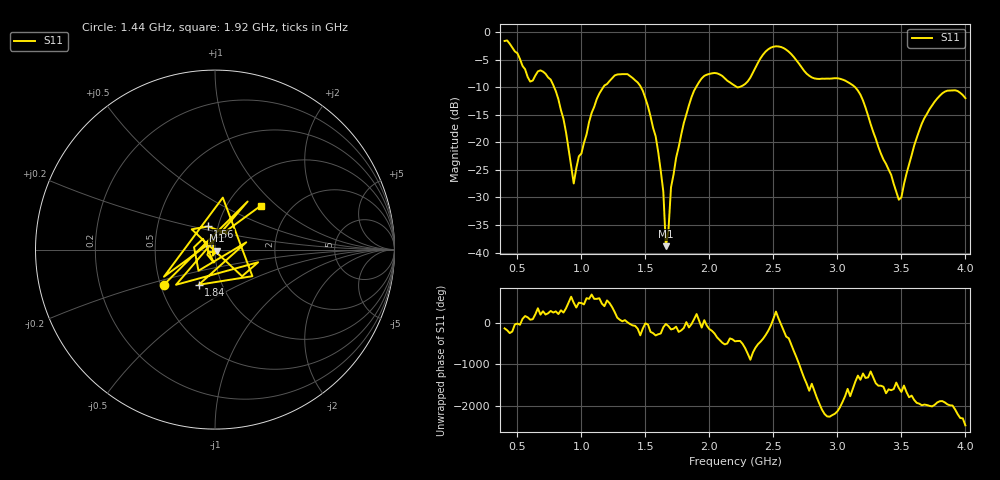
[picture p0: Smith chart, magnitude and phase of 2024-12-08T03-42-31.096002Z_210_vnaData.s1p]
!Created with skrf (http://scikit-rf.org).
# Hz S RI R 50.0
!freq ReS11 ImS11
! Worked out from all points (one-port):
!   181 points, 400 MHz to 4 GHz, reference 50 ohm
!   lowest |S11| = -38.8 dB at 1.66 GHz (marker M1), VSWR 1.02, Z = 51 - j0.593 ohm
!   |S11| at or under -10 dB: 786.8 MHz to 1.172 GHz (384.8 MHz wide, 39.3 % of centre); 1.465 GHz to 1.896 GHz (431.5 MHz wide, 25.7 % of centre); 3.138 GHz to end of sweep (the widest 3 of 4)
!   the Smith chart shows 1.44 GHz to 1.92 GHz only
!   S11 on the Smith chart (normalised r, x): 1.44 GHz: 0.52, -0.23; 1.56 GHz: 0.89, +0.23; 1.84 GHz: 0.78, -0.32; 1.92 GHz: 1.42, +0.79
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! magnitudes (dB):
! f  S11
! 400 MHz  -1.6
! 600 MHz  -9.0
! 760 MHz  -8.6
! 860 MHz  -15.8
! 940 MHz  -27.5
! 1.12 GHz  -12.2
! 1.3 GHz  -7.7
! 1.44 GHz  -9.2
! 1.56 GHz  -17.4
! 1.64 GHz  -29.0
! 1.66 GHz  -38.8
! 1.68 GHz  -36.0
! 1.7 GHz  -28.2
! 1.76 GHz  -20.9
! 1.84 GHz  -13.3
! 1.92 GHz  -9.1
! 2.04 GHz  -7.4
! 2.2 GHz  -9.8
! 2.48 GHz  -2.8
! 2.66 GHz  -4.6
! 2.8 GHz  -8.2
! 3.1 GHz  -9.4
! 3.2 GHz  -12.4
! 3.48 GHz  -30.4
! 3.56 GHz  -24.0
! 3.66 GHz  -16.6
! 3.78 GHz  -12.1
! 4 GHz  -12.0
